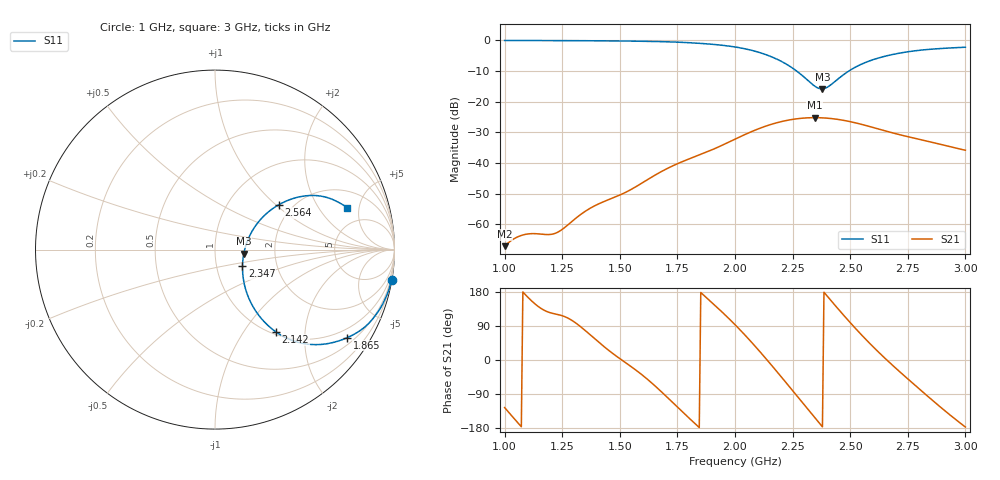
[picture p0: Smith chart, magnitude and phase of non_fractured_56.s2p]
! TOUCHSTONE file generated by CST MICROWAVE STUDIO
! Date and time: Sat Mar  8 13:54:18 2025
! Project name: non_fractured.cst
! Parameters = {B=2.5; D=160; F=20; Feed=2.85625; L=100; M=5; R=0.384908; S=1.5; Theta=270; length=57.125; wave=114.25}
! Header version: 2024
! Port assignment regex: !\s*Touchstone port\s*([0-9]+)\s*=\s*(CST MWS port|CST DES external port|CST DES block port)\s*(.+)\s* \(\"(.*)\"\)(\s*mode\s*([0-9]+))?.*
! Touchstone port assignment:
! Touchstone port 1 = CST MWS port 1 ("")
! Touchstone port 2 = CST MWS port 2 ("")
# GHz S DB R 50
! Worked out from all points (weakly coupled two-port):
!   304 points, 1 GHz to 3 GHz, reference 50 ohm
!   highest |S21| = -25.21 dB at 2.347 GHz (marker M1); lowest = -67.1 dB at 1 GHz (marker M2)
!   lowest |S11| = -15.8 dB at 2.38 GHz (marker M3), VSWR 1.39, Z = 69 - j3.16 ohm
!   |S11| at or under -10 dB: 2.268 GHz to 2.494 GHz (226 MHz wide, 9.49 % of centre)
!   S12 and S22 are empty: the file has one direction only
!   S11 on the Smith chart (normalised r, x): 1 GHz: 0, -12; 1.865 GHz: 0.70, -3.17; 2.142 GHz: 1.04, -1.42; 2.347 GHz: 1.33, -0.25; 2.564 GHz: 1.70, +1.04; 3 GHz: 3.27, +3.79
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1  -0.02 -9.8  -67.15 -125.6  -200.00 0.0  -200.00 0.0
1.0396  -0.02 -10.3  -64.78 -153.3  -200.00 0.0  -200.00 0.0
1.07921  -0.03 -10.8  -63.49 179.5  -200.00 0.0  -200.00 0.0
1.22442  -0.05 -13.1  -62.81 120.9  -200.00 0.0  -200.00 0.0
1.33663  -0.09 -15.2  -56.45 84.5  -200.00 0.0  -200.00 0.0
1.39604  -0.12 -16.4  -53.78 53.5  -200.00 0.0  -200.00 0.0
1.53465  -0.21 -19.9  -49.22 -11.2  -200.00 0.0  -200.00 0.0
1.66667  -0.38 -24.2  -43.37 -76.0  -200.00 0.0  -200.00 0.0
1.86469  -1.05 -33.6  -36.80 170.8  -200.00 0.0  -200.00 0.0
2.0033  -2.18 -42.9  -32.11 91.2  -200.00 0.0  -200.00 0.0
2.07591  -3.31 -48.7  -29.64 44.1  -200.00 0.0  -200.00 0.0
2.14191  -4.86 -53.4  -27.76 -1.8  -200.00 0.0  -200.00 0.0
2.24092  -8.58 -56.2  -25.88 -74.0  -200.00 0.0  -200.00 0.0
2.33993  -14.58 -34.8  -25.21 -147.4  -200.00 0.0  -200.00 0.0
2.34653  -14.95 -31.1  -25.21 -152.2  -200.00 0.0  -200.00 0.0
2.37954  -15.81 -7.9  -25.27 -176.4  -200.00 0.0  -200.00 0.0
2.40594  -15.03 10.1  -25.41 164.5  -200.00 0.0  -200.00 0.0
2.47195  -11.13 31.8  -26.09 117.8  -200.00 0.0  -200.00 0.0
2.56436  -7.26 35.1  -27.69 56.6  -200.00 0.0  -200.00 0.0
2.66997  -4.83 31.3  -29.89 -6.2  -200.00 0.0  -200.00 0.0
2.82178  -3.06 23.8  -32.66 -88.0  -200.00 0.0  -200.00 0.0
3  -2.23 17.5  -35.84 -176.9  -200.00 0.0  -200.00 0.0
